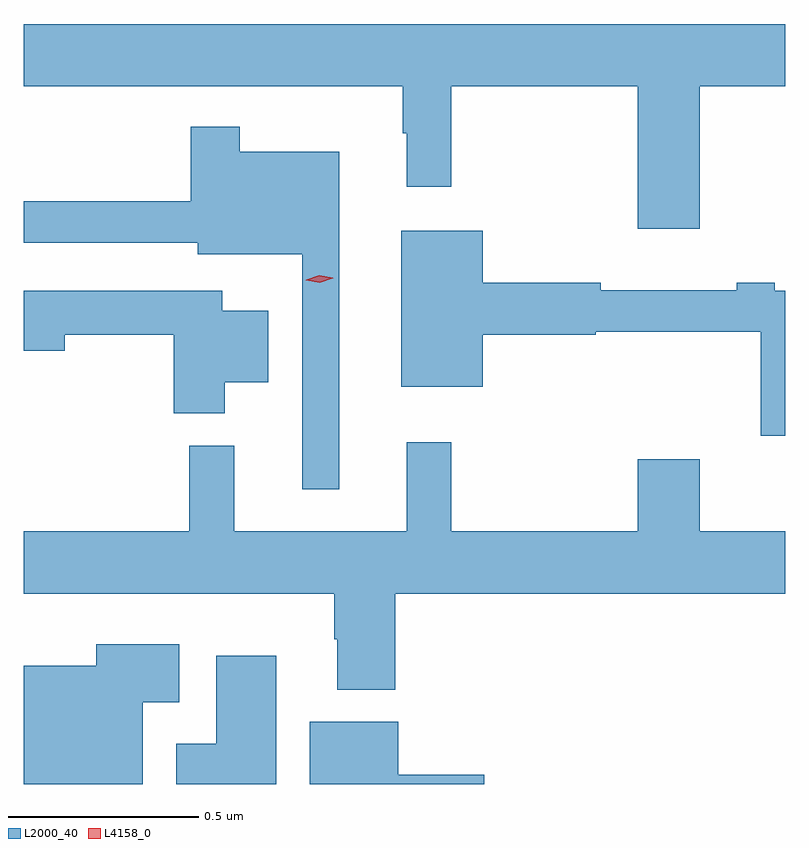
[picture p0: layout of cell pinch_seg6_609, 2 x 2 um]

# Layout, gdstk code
import gdstk
lib = gdstk.Library(unit=1e-6, precision=1e-09)
def P(c, l, *ps):  # polygons
    for p in ps: c.add(gdstk.Polygon(p, *l))
L2000_40 = (2000, 40)
L4158_0 = (4158, 0)

pinch_seg6_609 = lib.new_cell('pinch_seg6_609')
P(pinch_seg6_609, L2000_40, [(536.8,980.636),(537.024,980.636),(537.024,980.8),(535.024,980.8),(535.024,980.636),(536.019,980.636),(536.019,980.513),(536.03,980.513),(536.03,980.373),(536.147,980.373),(536.147,980.636),(536.636,980.636),(536.636,980.262),(536.8,980.262)],
  [(535.852,980.464),(535.591,980.464),(535.591,980.53),(535.462,980.53),(535.462,980.335),(535.024,980.335),(535.024,980.226),(535.481,980.226),(535.481,980.195),(535.755,980.195),(535.755,979.578),(535.852,979.578)],
  [(537.024,980.1),(536.996,980.1),(536.996,980.12),(536.896,980.12),(536.896,980.101),(536.54,980.101),(536.54,980.12),(536.23,980.12),(536.23,980.257),(536.015,980.257),(536.015,979.847),(536.23,979.847),(536.23,979.984),(536.526,979.984),(536.526,979.992),(536.96,979.992),(536.96,979.719),(537.024,979.719)],
  [(535.552,979.859),(535.666,979.859),(535.666,980.047),(535.546,980.047),(535.546,980.1),(535.024,980.1),(535.024,979.942),(535.132,979.942),(535.132,979.984),(535.418,979.984),(535.418,979.778),(535.552,979.778)],
  [(535.577,979.693),(535.459,979.693),(535.459,979.468),(535.024,979.468),(535.024,979.304),(535.84,979.304),(535.84,979.184),(535.847,979.184),(535.847,979.052),(536,979.052),(536,979.304),(537.024,979.304),(537.024,979.468),(536.8,979.468),(536.8,979.657),(536.636,979.657),(536.636,979.468),(536.147,979.468),(536.147,979.702),(536.03,979.702),(536.03,979.468),(535.577,979.468)],
  [(535.336,979.019),(535.432,979.019),(535.432,979.171),(535.214,979.171),(535.214,979.114),(535.024,979.114),(535.024,978.804),(535.336,978.804)],
  [(535.687,979.141),(535.529,979.141),(535.529,978.91),(535.424,978.91),(535.424,978.804),(535.687,978.804)],
  [(536.233,978.828),(536.008,978.828),(536.008,978.967),(535.775,978.967),(535.775,978.804),(536.233,978.804)])
P(pinch_seg6_609, L4158_0, [(535.802,980.12),(535.766,980.127),(535.765,980.127),(535.766,980.128),(535.8,980.14),(535.836,980.133),(535.837,980.132),(535.836,980.132)])

lib.write_gds('pinch_seg6_609.gds')
